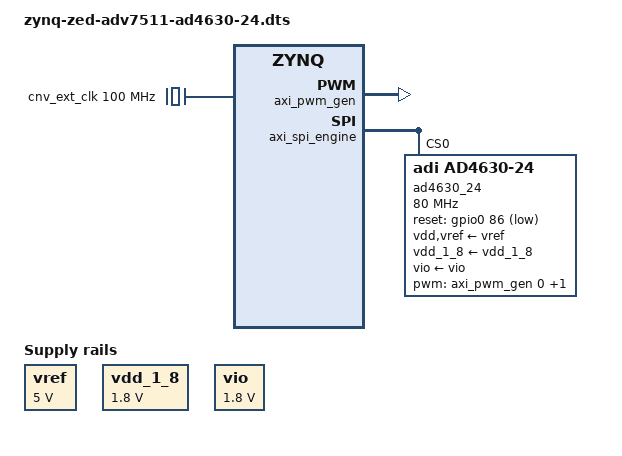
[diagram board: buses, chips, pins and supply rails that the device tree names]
// SPDX-License-Identifier: GPL-2.0
/*
 * Analog Devices AD4630-24
 *
 * hdl_project: <ad4630_fmc/zed>
 * board_revision: <B>
 *
 * Copyright (C) 2022 Analog Devices Inc.
 */
/dts-v1/;

#include "zynq-zed.dtsi"
#include "zynq-zed-adv7511.dtsi"
#include <dt-bindings/gpio/gpio.h>
#include <dt-bindings/pwm/pwm.h>

/ {
	vref: regulator-vref {
		compatible = "regulator-fixed";
		regulator-name = "fixed-supply";
		regulator-min-microvolt = <5000000>;
		regulator-max-microvolt = <5000000>;
		regulator-always-on;
	};

	vdd_1_8: regulator-vdd-1-8 {
		compatible = "regulator-fixed";
		regulator-name = "fixed-supply";
		regulator-min-microvolt = <1800000>;
		regulator-max-microvolt = <1800000>;
		regulator-always-on;
	};

	vio: regulator-vio {
		compatible = "regulator-fixed";
		regulator-name = "fixed-supply";
		regulator-min-microvolt = <1800000>;
		regulator-max-microvolt = <1800000>;
		regulator-always-on;
	};

	clocks {
		cnv_ext_clk: ext-clk {
			#clock-cells = <0x0>;
			compatible = "fixed-clock";
			clock-frequency = <100000000>;
			clock-output-names = "cnv_ext_clk";
		};
	};
};

&fpga_axi {
	rx_dma: rx-dmac@44a30000 {
		compatible = "adi,axi-dmac-1.00.a";
		reg = <0x44a30000 0x1000>;
		#dma-cells = <1>;
		interrupts = <0 57 IRQ_TYPE_LEVEL_HIGH>;
		clocks = <&clkc 15>;

		adi,channels {
			#size-cells = <0>;
			#address-cells = <1>;

			dma-channel@0 {
				reg = <0>;
				adi,source-bus-width = <64>;
				adi,source-bus-type = <1>;
				adi,destination-bus-width = <64>;
				adi,destination-bus-type = <0>;
			};
		};
	};

	spi_clk: axi-clkgen@0x44a70000 {
		compatible = "adi,axi-clkgen-2.00.a";
		reg = <0x44a70000 0x10000>;
		#clock-cells = <0>;
		clocks = <&clkc 15>, <&clkc 15>;
		clock-names = "s_axi_aclk", "clkin1";
		clock-output-names = "spi_clk";
	};

	axi_pwm_gen: axi-pwm-gen@ {
		compatible = "adi,axi-pwmgen";
		reg = <0x44b00000 0x1000>;
		label = "ad463x_cnv";
		#pwm-cells = <2>;
		clocks = <&cnv_ext_clk>;

	};

	axi_spi_engine: spi@44a00000 {
		compatible = "adi-ex,axi-spi-engine-1.00.a";
		reg = <0x44a00000 0x1FF>;
		interrupt-parent = <&intc>;
		interrupts = <0 56 IRQ_TYPE_LEVEL_HIGH>;
		clocks = <&clkc 15>, <&spi_clk>;
		clock-names = "s_axi_aclk", "spi_clk";
		num-cs = <1>;

		#address-cells = <0x1>;
		#size-cells = <0x0>;

		ad4630_24: ad4630-24@0 {
			compatible = "adi,ad4630-24";
			reg = <0>;
			vdd-supply = <&vref>;
			vdd_1_8-supply = <&vdd_1_8>;
			vio-supply = <&vio>;
			vref-supply = <&vref>;
			spi-max-frequency = <80000000>;
			reset-gpios = <&gpio0 86 GPIO_ACTIVE_LOW>;
			adi,lane-mode = <1>;
			adi,clock-mode = <0>;
			adi,out-data-mode = <0>;
			adi,spi-trigger;
			clocks = <&cnv_ext_clk>;
			clock-names = "trigger_clock";
			dmas = <&rx_dma 0>;
			dma-names = "rx";
			pwm-names = "spi_trigger", "cnv";
			pwms = <&axi_pwm_gen 0 0>, <&axi_pwm_gen 1 0>;
		};
	};
};
